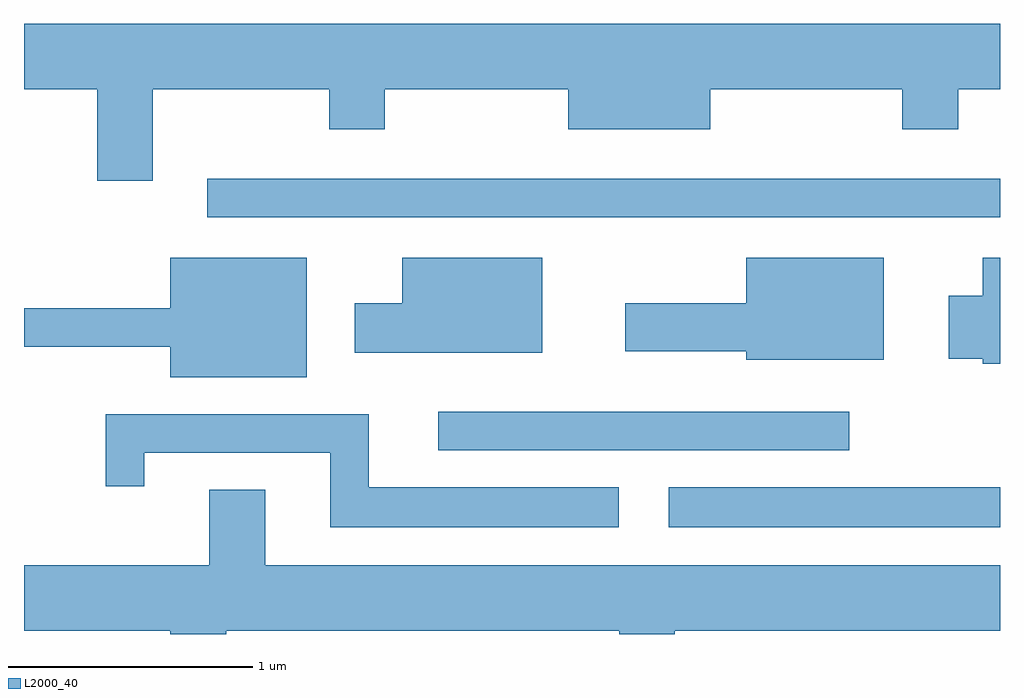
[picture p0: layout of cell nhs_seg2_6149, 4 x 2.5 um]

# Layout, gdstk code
import gdstk
lib = gdstk.Library(unit=1e-6, precision=1e-09)
def R(c, l, rs):  # rectangles x0, y0, x1, y1
    for r in rs: c.add(gdstk.rectangle(r[:2], r[2:], *l))
def P(c, l, *ps):  # polygons
    for p in ps: c.add(gdstk.Polygon(p, *l))
L2000_40 = (2000, 40)

nhs_seg2_6149 = lib.new_cell('nhs_seg2_6149')
R(nhs_seg2_6149, L2000_40, [(368.253,1104.241,369.611,1104.404), (367.308,1104.556,368.993,1104.714), (366.363,1105.511,369.611,1105.669)])
P(nhs_seg2_6149, L2000_40, [(365.611,1106.036),(365.911,1106.036),(365.911,1105.661),(366.139,1105.661),(366.139,1106.036),(366.861,1106.036),(366.861,1105.871),(367.089,1105.871),(367.089,1106.036),(367.841,1106.036),(367.841,1105.871),(368.424,1105.871),(368.424,1106.036),(369.211,1106.036),(369.211,1105.871),(369.439,1105.871),(369.439,1106.036),(369.611,1106.036),(369.611,1106.304),(365.611,1106.304)],
  [(366.769,1105.344),(366.211,1105.344),(366.211,1105.139),(365.611,1105.139),(365.611,1104.981),(366.211,1104.981),(366.211,1104.856),(366.769,1104.856)],
  [(367.734,1105.344),(367.161,1105.344),(367.161,1105.159),(366.966,1105.159),(366.966,1104.956),(367.734,1104.956)],
  [(369.611,1105.344),(369.541,1105.344),(369.541,1105.189),(369.401,1105.189),(369.401,1104.931),(369.541,1104.931),(369.541,1104.911),(369.611,1104.911)],
  [(369.134,1105.344),(368.571,1105.344),(368.571,1105.159),(368.076,1105.159),(368.076,1104.961),(368.571,1104.961),(368.571,1104.926),(369.134,1104.926)],
  [(368.048,1104.404),(367.024,1104.404),(367.024,1104.704),(365.946,1104.704),(365.946,1104.408),(366.104,1104.408),(366.104,1104.546),(366.866,1104.546),(366.866,1104.241),(368.048,1104.241)],
  [(366.439,1103.816),(368.051,1103.816),(368.051,1103.802),(368.279,1103.802),(368.279,1103.816),(369.611,1103.816),(369.611,1104.084),(366.599,1104.084),(366.599,1104.394),(366.371,1104.394),(366.371,1104.084),(365.611,1104.084),(365.611,1103.816),(366.211,1103.816),(366.211,1103.802),(366.439,1103.802)])

lib.write_gds('nhs_seg2_6149.gds')
